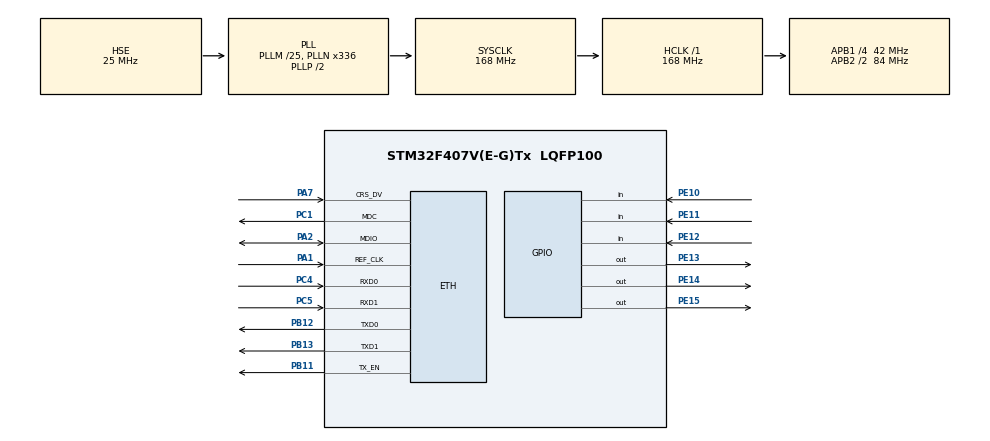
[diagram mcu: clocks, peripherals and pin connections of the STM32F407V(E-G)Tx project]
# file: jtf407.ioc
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ETH.MediaInterface=HAL_ETH_RMII_MODE
ETH.RxMode=ETH_RXINTERRUPT_MODE
FREERTOS.Tasks01=defaultTask,24,256,StartDefaultTask,Default,NULL,Dynamic,NULL,NULL
FREERTOS.configMINIMAL_STACK_SIZE=256
FREERTOS.configTOTAL_HEAP_SIZE=24576
LWIP.BSP.number=1
LWIP.LWIP_DNS=1
LWIP.LWIP_NETIF_STATUS_CALLBACK=1
LWIP.MEM_SIZE=16384
LWIP.Version=v2.1.2_Cube
LWIP0.BSP.STBoard=false
LWIP0.BSP.api=BSP_COMPONENT_DRIVER
LWIP0.BSP.component=DP83848
LWIP0.BSP.instance=DP83848
LWIP0.BSP.name=Driver_PHY
LWIP0.BSP.semaphore=S_DP83848
LWIP0.BSP.solution=DP83848
Mcu.Family=STM32F4
Mcu.Name=STM32F407V(E-G)Tx
Mcu.Package=LQFP100
NVIC.ETH_IRQn=true\:5\:0\:false\:false\:true\:true\:false\:true\:true
NVIC.PriorityGroup=NVIC_PRIORITYGROUP_4
NVIC.TIM6_DAC_IRQn=true\:15\:0\:false\:false\:true\:false\:false\:true\:true
NVIC.TimeBase=TIM6_DAC_IRQn
NVIC.TimeBaseIP=TIM6
PA1.Mode=RMII
PA1.Signal=ETH_REF_CLK
PA13.Mode=Serial_Wire
PA13.Signal=SYS_JTMS-SWDIO
PA14.Mode=Serial_Wire
PA14.Signal=SYS_JTCK-SWCLK
PA2.Mode=RMII
PA2.Signal=ETH_MDIO
PA7.Mode=RMII
PA7.Signal=ETH_CRS_DV
PB11.Mode=RMII
PB11.Signal=ETH_TX_EN
PB12.Mode=RMII
PB12.Signal=ETH_TXD0
PB13.Mode=RMII
PB13.Signal=ETH_TXD1
PC1.Mode=RMII
PC1.Signal=ETH_MDC
PC4.Mode=RMII
PC4.Signal=ETH_RXD0
PC5.Mode=RMII
PC5.Signal=ETH_RXD1
PE10.Signal=GPIO_Input
PE11.Signal=GPIO_Input
PE12.Signal=GPIO_Input
PE13.Signal=GPIO_Output
PE14.Signal=GPIO_Output
PE15.Signal=GPIO_Output
PH0-OSC_IN.Mode=HSE-External-Oscillator
PH0-OSC_IN.Signal=RCC_OSC_IN
PH1-OSC_OUT.Mode=HSE-External-Oscillator
PH1-OSC_OUT.Signal=RCC_OSC_OUT
ProjectManager.HeapSize=0x200
ProjectManager.StackSize=0x400
ProjectManager.TargetToolchain=CMake
RCC.48MHZClocksFreq_Value=84000000
RCC.AHBFreq_Value=168000000
RCC.APB1CLKDivider=RCC_HCLK_DIV4
RCC.APB1Freq_Value=42000000
RCC.APB1TimFreq_Value=84000000
RCC.APB2CLKDivider=RCC_HCLK_DIV2
RCC.APB2Freq_Value=84000000
RCC.APB2TimFreq_Value=168000000
RCC.CortexFreq_Value=168000000
RCC.HCLKFreq_Value=168000000
RCC.HSE_VALUE=25000000
RCC.HSI_VALUE=16000000
RCC.LSE_VALUE=32768
RCC.PLLM=25
RCC.PLLN=336
RCC.PLLSourceVirtual=RCC_PLLSOURCE_HSE
RCC.SYSCLKFreq_VALUE=168000000
RCC.SYSCLKSource=RCC_SYSCLKSOURCE_PLLCLK
RCC.VCOOutputFreq_Value=336000000
VP_FREERTOS_VS_CMSIS_V2.Mode=CMSIS_V2
VP_LWIP_VS_Enabled.Mode=Enabled
VP_SYS_VS_tim6.Mode=TIM6
board=custom

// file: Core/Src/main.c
/* USER CODE BEGIN Header */
/**
  ******************************************************************************
  * @file           : main.c
  * @brief          : Main program body
  ******************************************************************************
  * @attention
  *
  * Copyright (c) 2026 STMicroelectronics.
  * All rights reserved.
  *
  * This software is licensed under terms that can be found in the LICENSE file
  * in the root directory of this software component.
  * If no LICENSE file comes with this software, it is provided AS-IS.
  *
  ******************************************************************************
  */
/* USER CODE END Header */
#include "main.h"
#include "cmsis_os.h"
#include "lwip.h"

/* USER CODE BEGIN Includes */
#include "mqtt_app.h"
#include "net_ready.h"
#include "watchdog.h"
#include "fault_marker.h"
#include "outputs.h"
#include "state_store.h"
#include "buttons.h"
/* USER CODE END Includes */

/* Definitions for defaultTask */
osThreadId_t defaultTaskHandle;
const osThreadAttr_t defaultTask_attributes = {
  .name = "defaultTask",
  .stack_size = 256 * 4,
  .priority = (osPriority_t) osPriorityNormal,
};
/* USER CODE BEGIN PV */
osThreadId_t mqttTaskHandle;
const osThreadAttr_t mqttTask_attributes = {
  .name = "mqttTask",
  .stack_size = 1024 * 4,  /* 4 KB — snprintf and lwIP callbacks need headroom */
  .priority = (osPriority_t) osPriorityBelowNormal,
};
osThreadId_t wdgTaskHandle;
const osThreadAttr_t wdgTask_attributes = {
  .name = "wdgTask",
  .stack_size = 256 * 4,
  .priority = (osPriority_t) osPriorityLow,
};
/* USER CODE END PV */

void SystemClock_Config(void);
static void MX_GPIO_Init(void);
void StartDefaultTask(void *argument);

int main(void)
{

  /* USER CODE BEGIN 1 */
  /* Capture reset reason BEFORE anything else can touch RCC->CSR */
  fault_marker_capture();
  /* USER CODE END 1 */

  /* MCU Configuration--------------------------------------------------------*/

  /* Reset of all peripherals, Initializes the Flash interface and the Systick. */
  HAL_Init();

  /* USER CODE BEGIN Init */
  watchdog_start();   /* ~8s timeout; once started — only reset stops it */
  /* USER CODE END Init */

  /* Configure the system clock */
  SystemClock_Config();

  /* Initialize all configured peripherals */
  MX_GPIO_Init();
  /* USER CODE BEGIN 2 */
  /* Restore output state from RTC backup registers. Done BEFORE RTOS start
   * so any user-visible outputs (LEDs, relays) come up in the last known
   * state within milliseconds of reset, not seconds. */
  state_store_init();
  outputs_restore_from_nvm();
  buttons_init();
  /* USER CODE END 2 */

  /* Init scheduler */
  osKernelInitialize();

  /* USER CODE BEGIN RTOS_SEMAPHORES */
  net_ready_init();
  /* USER CODE END RTOS_SEMAPHORES */

  /* Create the thread(s) */
  /* creation of defaultTask */
  defaultTaskHandle = osThreadNew(StartDefaultTask, NULL, &defaultTask_attributes);

  /* USER CODE BEGIN RTOS_THREADS */
  mqttTaskHandle = osThreadNew(mqtt_app_task, NULL, &mqttTask_attributes);
  wdgTaskHandle  = osThreadNew(watchdog_task, NULL, &wdgTask_attributes);
  /* USER CODE END RTOS_THREADS */

  /* Start scheduler */
  osKernelStart();

  /* We should never get here as control is now taken by the scheduler */

  /* Infinite loop */
  while (1)
  {

  }
}

void SystemClock_Config(void)
{
  RCC_OscInitTypeDef RCC_OscInitStruct = {0};
  RCC_ClkInitTypeDef RCC_ClkInitStruct = {0};

  /** Configure the main internal regulator output voltage
  */
  __HAL_RCC_PWR_CLK_ENABLE();
  __HAL_PWR_VOLTAGESCALING_CONFIG(PWR_REGULATOR_VOLTAGE_SCALE1);

  /** Initializes the RCC Oscillators according to the specified parameters
  * in the RCC_OscInitTypeDef structure.
  */
  RCC_OscInitStruct.OscillatorType = RCC_OSCILLATORTYPE_HSE;
  RCC_OscInitStruct.HSEState = RCC_HSE_ON;
  RCC_OscInitStruct.PLL.PLLState = RCC_PLL_ON;
  RCC_OscInitStruct.PLL.PLLSource = RCC_PLLSOURCE_HSE;
  RCC_OscInitStruct.PLL.PLLM = 25;
  RCC_OscInitStruct.PLL.PLLN = 336;
  RCC_OscInitStruct.PLL.PLLP = RCC_PLLP_DIV2;
  RCC_OscInitStruct.PLL.PLLQ = 4;
  if (HAL_RCC_OscConfig(&RCC_OscInitStruct) != HAL_OK)
  {
    Error_Handler();
  }

  /** Initializes the CPU, AHB and APB buses clocks
  */
  RCC_ClkInitStruct.ClockType = RCC_CLOCKTYPE_HCLK|RCC_CLOCKTYPE_SYSCLK
                              |RCC_CLOCKTYPE_PCLK1|RCC_CLOCKTYPE_PCLK2;
  RCC_ClkInitStruct.SYSCLKSource = RCC_SYSCLKSOURCE_PLLCLK;
  RCC_ClkInitStruct.AHBCLKDivider = RCC_SYSCLK_DIV1;
  RCC_ClkInitStruct.APB1CLKDivider = RCC_HCLK_DIV4;
  RCC_ClkInitStruct.APB2CLKDivider = RCC_HCLK_DIV2;

  if (HAL_RCC_ClockConfig(&RCC_ClkInitStruct, FLASH_LATENCY_5) != HAL_OK)
  {
    Error_Handler();
  }
}

static void MX_GPIO_Init(void)
{
  GPIO_InitTypeDef GPIO_InitStruct = {0};

  /* GPIO Ports Clock Enable */
  __HAL_RCC_GPIOH_CLK_ENABLE();
  __HAL_RCC_GPIOC_CLK_ENABLE();
  __HAL_RCC_GPIOA_CLK_ENABLE();
  __HAL_RCC_GPIOE_CLK_ENABLE();
  __HAL_RCC_GPIOB_CLK_ENABLE();

  /*Configure GPIO pin Output Level */
  HAL_GPIO_WritePin(GPIOE, GPIO_PIN_13|GPIO_PIN_14|GPIO_PIN_15, GPIO_PIN_SET);

  /*Configure GPIO pins : PE10 PE11 PE12 */
  GPIO_InitStruct.Pin = GPIO_PIN_10|GPIO_PIN_11|GPIO_PIN_12;
  GPIO_InitStruct.Mode = GPIO_MODE_INPUT;
  GPIO_InitStruct.Pull = GPIO_NOPULL;
  HAL_GPIO_Init(GPIOE, &GPIO_InitStruct);

  /*Configure GPIO pins : PE13 PE14 PE15 */
  GPIO_InitStruct.Pin = GPIO_PIN_13|GPIO_PIN_14|GPIO_PIN_15;
  GPIO_InitStruct.Mode = GPIO_MODE_OUTPUT_PP;
  GPIO_InitStruct.Pull = GPIO_NOPULL;
  GPIO_InitStruct.Speed = GPIO_SPEED_FREQ_LOW;
  HAL_GPIO_Init(GPIOE, &GPIO_InitStruct);

  /* USER CODE BEGIN MX_GPIO_Init_2 */
  /* External relay on P4 connector (SONGLE SRD-05VDC, active-LOW):
   *   Relay → PD4 (P4 pin 16)
   * Drive HIGH BEFORE configuring as push-pull so the relay coil is not
   * briefly energised at power-on. */
  __HAL_RCC_GPIOD_CLK_ENABLE();
  HAL_GPIO_WritePin(GPIOD, GPIO_PIN_4, GPIO_PIN_SET);

  GPIO_InitStruct.Pin   = GPIO_PIN_4;
  GPIO_InitStruct.Mode  = GPIO_MODE_OUTPUT_PP;
  GPIO_InitStruct.Pull  = GPIO_PULLUP;
  GPIO_InitStruct.Speed = GPIO_SPEED_FREQ_LOW;
  HAL_GPIO_Init(GPIOD, &GPIO_InitStruct);
  /* USER CODE END MX_GPIO_Init_2 */
}

void StartDefaultTask(void *argument)
{
  /* Refresh watchdog before long PHY init — lower-priority wdgTask may not
   * get CPU while MX_LWIP_Init() blocks on HAL_Delay inside DP83848_Init. */
  watchdog_refresh();
  /* init code for LWIP */
  MX_LWIP_Init();
  /* USER CODE BEGIN 5 */
  watchdog_refresh();
  net_ready_signal();   /* gnetif is now initialised — release waiters */
  /* Infinite loop */
  for(;;)
  {
    osDelay(1);
  }
  /* USER CODE END 5 */
}

void HAL_TIM_PeriodElapsedCallback(TIM_HandleTypeDef *htim)
{
  if (htim->Instance == TIM6)
  {
    HAL_IncTick();
  }
}

void Error_Handler(void)
{
  __disable_irq();
  while (1)
  {
  }
}
